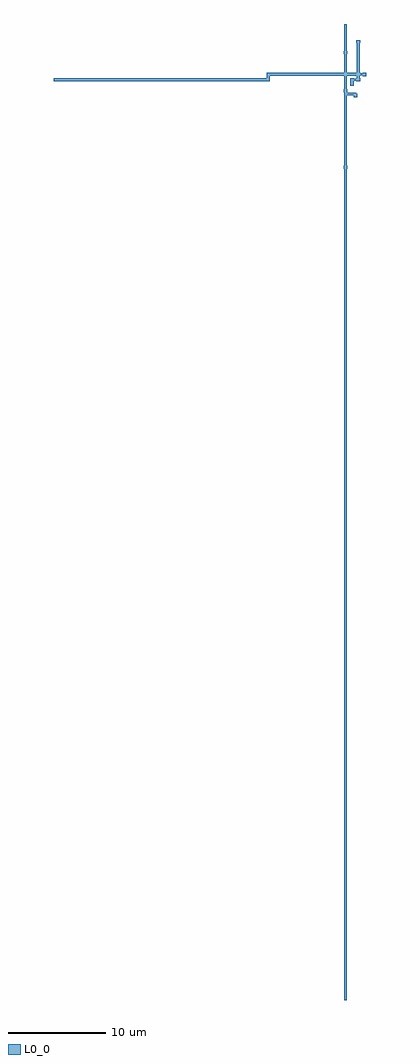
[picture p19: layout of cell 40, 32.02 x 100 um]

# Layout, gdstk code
import gdstk
lib = gdstk.Library(unit=1e-6, precision=1e-09)
def P(c, l, *ps):  # polygons
    for p in ps: c.add(gdstk.Polygon(p, *l))
L0_0 = (0, 0)

c_40 = lib.new_cell('40')
P(c_40, L0_0, [(980.24,994.42),(980.62,994.42),(980.62,994.14),(980.24,994.14),(980.24,994.42)],
  [(979.58,993.655),(979.58,994.42),(979.96,994.42),(979.96,993.655),(979.58,993.655)],
  [(979.77,994.395),(980.545,994.395),(980.545,994.165),(979.77,994.165),(979.77,994.395)],
  [(978.92,993.3),(979.3,993.3),(979.3,993.02),(978.92,993.02),(978.92,993.3)],
  [(981.24,994.67),(980.9,994.67),(980.9,994.725),(979.225,994.725),(979.225,993.045),(979.3,993.045),(979.3,992.935),(980.21,992.935),(980.21,992.855),(980.32,992.855),(980.32,992.515),(979.98,992.515),(979.98,992.705),(978.995,992.705),(978.995,994.955),(980.9,994.955),(980.9,995.01),(981.24,995.01),(981.24,994.67)],
  [(978.92,994.98),(979.3,994.98),(979.3,994.7),(978.92,994.7),(978.92,994.98)],
  [(978.92,994.98),(979.3,994.98),(979.3,994.7),(978.92,994.7),(978.92,994.98)],
  [(978.92,997.22),(979.3,997.22),(979.3,996.94),(978.92,996.94),(978.92,997.22)],
  [(978.97,994.7),(978.97,997.22),(979.25,997.22),(979.25,994.7),(978.97,994.7)],
  [(978.92,993.3),(979.3,993.3),(979.3,993.02),(978.92,993.02),(978.92,993.3)],
  [(978.92,985.46),(979.3,985.46),(979.3,985.18),(978.92,985.18),(978.92,985.46)],
  [(978.97,985.18),(978.97,993.3),(979.25,993.3),(979.25,985.18),(978.97,985.18)],
  [(980.29,995.21),(980.57,995.21),(980.57,994.47),(980.29,994.47),(980.29,995.21)],
  [(980.29,994.14),(980.29,994.98),(980.57,994.98),(980.57,994.14),(980.29,994.14)],
  [(980.29,994.7),(980.29,998.34),(980.57,998.34),(980.57,994.7),(980.29,994.7)],
  [(980.24,994.42),(980.62,994.42),(980.62,994.14),(980.24,994.14),(980.24,994.42)],
  [(980.24,998.34),(980.62,998.34),(980.62,998.06),(980.24,998.06),(980.24,998.34)],
  [(980.24,998.34),(980.62,998.34),(980.62,998.06),(980.24,998.06),(980.24,998.34)],
  [(980.29,995.21),(980.57,995.21),(980.57,994.47),(980.29,994.47),(980.29,995.21)],
  [(980.29,994.7),(980.29,998.34),(980.57,998.34),(980.57,994.7),(980.29,994.7)],
  [(949.27,994.42),(954.17,994.42),(954.17,994.14),(949.27,994.14),(949.27,994.42)],
  [(971.05,994.98),(980.57,994.98),(980.57,994.7),(971.05,994.7),(971.05,994.98)],
  [(971.05,994.14),(971.05,994.98),(971.33,994.98),(971.33,994.14),(971.05,994.14)],
  [(953.89,994.42),(971.33,994.42),(971.33,994.14),(953.89,994.14),(953.89,994.42)],
  [(949.22,994.42),(949.6,994.42),(949.6,994.14),(949.22,994.14),(949.22,994.42)],
  [(953.84,994.42),(954.22,994.42),(954.22,994.14),(953.84,994.14),(953.84,994.42)],
  [(953.84,994.42),(954.22,994.42),(954.22,994.14),(953.84,994.14),(953.84,994.42)],
  [(980.24,994.98),(980.62,994.98),(980.62,994.7),(980.24,994.7),(980.24,994.98)],
  [(971.05,994.98),(980.57,994.98),(980.57,994.7),(971.05,994.7),(971.05,994.98)],
  [(971.05,994.14),(971.05,994.98),(971.33,994.98),(971.33,994.14),(971.05,994.14)],
  [(979.25,1000),(979.25,900),(978.97,900),(978.97,1000),(979.25,1000)])

lib.write_gds('40.gds')
